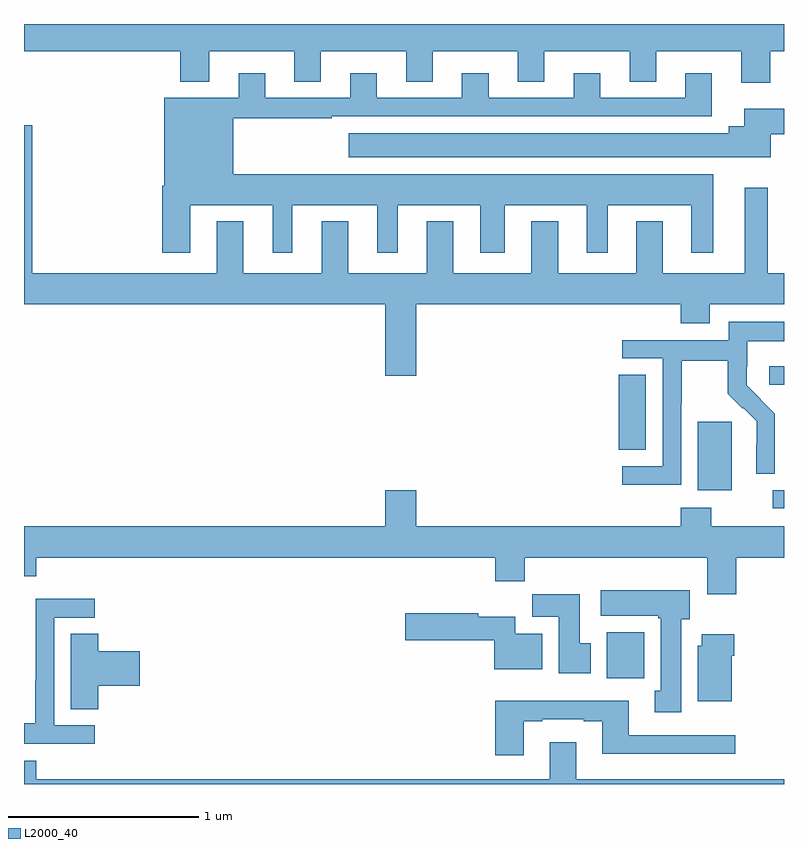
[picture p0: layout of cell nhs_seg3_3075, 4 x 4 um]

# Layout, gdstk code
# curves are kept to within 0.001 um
import gdstk
lib = gdstk.Library(unit=1e-6, precision=1e-09)
def R(c, l, rs):  # rectangles x0, y0, x1, y1
    for r in rs: c.add(gdstk.rectangle(r[:2], r[2:], *l))
def P(c, l, *ps):  # polygons
    for p in ps: c.add(gdstk.Polygon(p, *l))
L2000_40 = (2000, 40)

nhs_seg3_3075 = lib.new_cell('nhs_seg3_3075')
R(nhs_seg3_3075, L2000_40, [(274.067,690.956,274.264,691.198), (274.941,691.851,275,691.947), (274.547,691.946,274.726,692.307), (274.13,692.158,274.273,692.555), (274.923,692.502,275,692.599)])
P(nhs_seg3_3075, L2000_40, [(274.928,694.256),(275,694.256),(275,694.4),(271,694.4),(271,694.256),(271.823,694.256),(271.823,694.097),(271.975,694.097),(271.975,694.256),(272.423,694.256),(272.423,694.096),(272.563,694.096),(272.563,694.256),(273.011,694.256),(273.011,694.096),(273.151,694.096),(273.151,694.256),(273.599,694.256),(273.599,694.096),(273.739,694.096),(273.739,694.256),(274.187,694.256),(274.187,694.096),(274.327,694.096),(274.327,694.256),(274.775,694.256),(274.775,694.092),(274.928,694.092)],
  [(271.876,693.446),(272.309,693.446),(272.309,693.195),(272.413,693.195),(272.413,693.446),(272.858,693.446),(272.858,693.195),(272.968,693.195),(272.968,693.446),(273.401,693.446),(273.401,693.195),(273.529,693.195),(273.529,693.446),(273.962,693.446),(273.962,693.195),(274.072,693.195),(274.072,693.446),(274.511,693.446),(274.511,693.195),(274.627,693.195),(274.627,693.61),(272.101,693.61),(272.101,693.903),(272.621,693.903),(272.621,693.915),(274.621,693.915),(274.621,694.141),(274.481,694.141),(274.481,694.011),(274.033,694.011),(274.033,694.141),(273.893,694.141),(273.893,694.011),(273.445,694.011),(273.445,694.141),(273.305,694.141),(273.305,694.011),(272.857,694.011),(272.857,694.141),(272.717,694.141),(272.717,694.011),(272.269,694.011),(272.269,694.141),(272.129,694.141),(272.129,694.012),(271.739,694.012),(271.739,693.55),(271.727,693.55),(271.727,693.195),(271.876,693.195)],
  [(274.93,693.821),(275,693.821),(275,693.955),(274.79,693.955),(274.79,693.862),(274.709,693.862),(274.709,693.826),(272.709,693.826),(272.709,693.698),(274.93,693.698)],
  [(273.064,692.924),(274.457,692.924),(274.457,692.825),(274.609,692.825),(274.609,692.924),(275,692.924),(275,693.088),(274.915,693.088),(274.915,693.538),(274.793,693.538),(274.793,693.088),(274.363,693.088),(274.363,693.361),(274.223,693.361),(274.223,693.088),(273.811,693.088),(273.811,693.361),(273.671,693.361),(273.671,693.088),(273.259,693.088),(273.259,693.361),(273.119,693.361),(273.119,693.088),(272.707,693.088),(272.707,693.361),(272.567,693.361),(272.567,693.088),(272.155,693.088),(272.155,693.361),(272.015,693.361),(272.015,693.088),(271.043,693.088),(271.043,693.867),(271,693.867),(271,692.924),(272.9,692.924),(272.9,692.55),(273.064,692.55)],
  [(274.458,692.404),(274.461,692.404),(274.461,692.628),(274.705,692.628),(274.705,692.453),(274.782,692.376),(274.785,692.379),(274.856,692.309),(274.856,692.186),(274.854,692.186),(274.854,692.032),(274.95,692.032),(274.95,692.35),(274.804,692.498),(274.804,692.595),(274.806,692.595),(274.806,692.729),(275,692.729),(275,692.833),(274.71,692.833),(274.71,692.736),(274.149,692.736),(274.149,692.64),(274.362,692.64),(274.362,692.073),(274.149,692.073),(274.149,691.975),(274.458,691.975)],
  [(274.748,691.592),(275,691.592),(275,691.756),(274.617,691.756),(274.617,691.855),(274.457,691.855),(274.457,691.756),(273.064,691.756),(273.064,691.945),(272.9,691.945),(272.9,691.756),(271,691.756),(271,691.493),(271.064,691.493),(271.064,691.592),(273.479,691.592),(273.479,691.468),(273.635,691.468),(273.635,691.592),(274.595,691.592),(274.595,691.398),(274.748,691.398)],
  [(274.459,691.266),(274.504,691.266),(274.504,691.42),(274.035,691.42),(274.035,691.286),(274.339,691.286),(274.339,691.273),(274.352,691.273),(274.352,690.89),(274.319,690.89),(274.319,690.777),(274.459,690.777)],
  [(273.982,691.14),(273.925,691.14),(273.925,691.399),(273.676,691.399),(273.676,691.28),(273.815,691.28),(273.815,690.984),(273.982,690.984)],
  [(271.372,690.708),(271.158,690.708),(271.158,691.275),(271.372,691.275),(271.372,691.374),(271.062,691.374),(271.062,690.944),(271.06,690.944),(271.06,690.721),(271,690.721),(271,690.612),(271.372,690.612)],
  [(273.727,691.192),(273.586,691.192),(273.586,691.279),(273.39,691.279),(273.39,691.299),(273.006,691.299),(273.006,691.157),(273.476,691.157),(273.476,691.004),(273.727,691.004)],
  [(271.391,690.917),(271.609,690.917),(271.609,691.1),(271.391,691.1),(271.391,691.19),(271.247,691.19),(271.247,690.793),(271.391,690.793)],
  [(274.726,691.076),(274.739,691.076),(274.739,691.189),(274.568,691.189),(274.568,691.128),(274.547,691.128),(274.547,690.836),(274.726,690.836)],
  [(273.631,690.729),(273.727,690.729),(273.727,690.741),(273.947,690.741),(273.947,690.729),(274.043,690.729),(274.043,690.56),(274.744,690.56),(274.744,690.657),(274.183,690.657),(274.183,690.838),(273.479,690.838),(273.479,690.552),(273.631,690.552)],
  [(275,690.424),(273.907,690.424),(273.907,690.619),(273.767,690.619),(273.767,690.424),(271.064,690.424),(271.064,690.523),(271,690.523),(271,690.4),(275,690.4)])

lib.write_gds('nhs_seg3_3075.gds')
